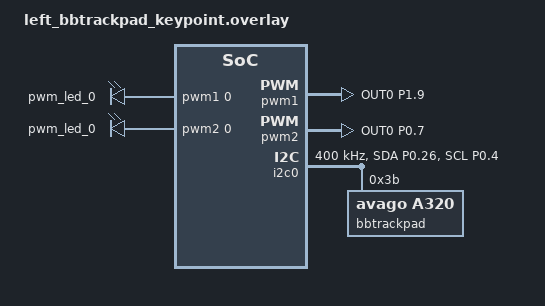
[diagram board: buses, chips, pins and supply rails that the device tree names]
/*
*
* Copyright (c) 2025 ZitaoTech
* SPDX-License-Identifier: MIT
*
*/


/ {
    chosen {
        zmk,trackpad_led = &trackpad_led;
        zmk,custom_led = &custom_led;
    };
    trackpad_led: pwmledo{
        compatible = "pwm-leds";
        pwm_led_0 {
            pwms = <&pwm1 0 PWM_USEC(20) PWM_POLARITY_NORMAL>;
        };
    };

    custom_led: pwmledto{
        compatible = "pwm-leds";
        pwm_led_0 {
            pwms = <&pwm2 0 PWM_USEC(20) PWM_POLARITY_NORMAL>;
        };
    };

};

&pwm1 {
    status = "okay";
    pinctrl-0 = <&pwm1_default>;
    pinctrl-1 = <&pwm1_sleep>;
    pinctrl-names = "default", "sleep";
};


&pwm2 {
    status = "okay";
    pinctrl-0 = <&pwm2_default>;
    pinctrl-1 = <&pwm2_sleep>;
    pinctrl-names = "default", "sleep";
};

&i2c0 {
    status = "okay";
    compatible = "nordic,nrf-twim";
    clock-frequency = <I2C_BITRATE_FAST>; 
    pinctrl-0 = <&i2c0_default>;
    pinctrl-1 = <&i2c0_sleep>;
    pinctrl-names = "default", "sleep";

    bbtrackpad:a320@3B {
        compatible = "avago,a320";
        reg = <0x3B>;
        status = "okay";
    };
};


/ {
    bbtrackpad_inputs {
        #address-cells = <1>;
        #size-cells = <0>;

    };
    bbtrackpad_listener: bbtrackpad_listener {
        compatible = "zmk,input-listener";
        status = "disabled";
        device = <&bbtrackpad>;
    };
};

&bbtrackpad_listener {
    status = "okay";
    input-processors = <&zip_temp_layer 3 600>,
    <&ip_behaviors0>,
    <&ip_behaviors1>,
    <&ip_behaviors2>,
    <&ip_behaviors3>;
};


&pinctrl {
    pwm1_default:pwm1_default{
        group1{
            psels = <NRF_PSEL(PWM_OUT0, 1, 9)>; // Backlight for Trackpad
        };
    };

    pwm1_sleep: pwm1_sleep {
        group1 {
            psels = <NRF_PSEL(PWM_OUT0, 1, 9)>;
            bias-pull-down;
        };
    };

    pwm2_default:pwm2_default{
        group1{
            psels = <NRF_PSEL(PWM_OUT0, 0, 7)>; // GPIO for custom led
        };
    };

    pwm2_sleep: pwm2_sleep {
        group1 {
            psels = <NRF_PSEL(PWM_OUT0, 0, 7)>;
            bias-pull-down;
        };
    };

    i2c0_default: i2c0_default {
        group1 {
            psels = <NRF_PSEL(TWIM_SDA, 0, 26)>,
                <NRF_PSEL(TWIM_SCL, 0, 4)>;
        };
    };

    i2c0_sleep: i2c0_sleep {
        group1 {
            psels = <NRF_PSEL(TWIM_SDA, 0, 26)>,
                <NRF_PSEL(TWIM_SCL, 0, 4)>;
            low-power-enable;
        };
    };
};


